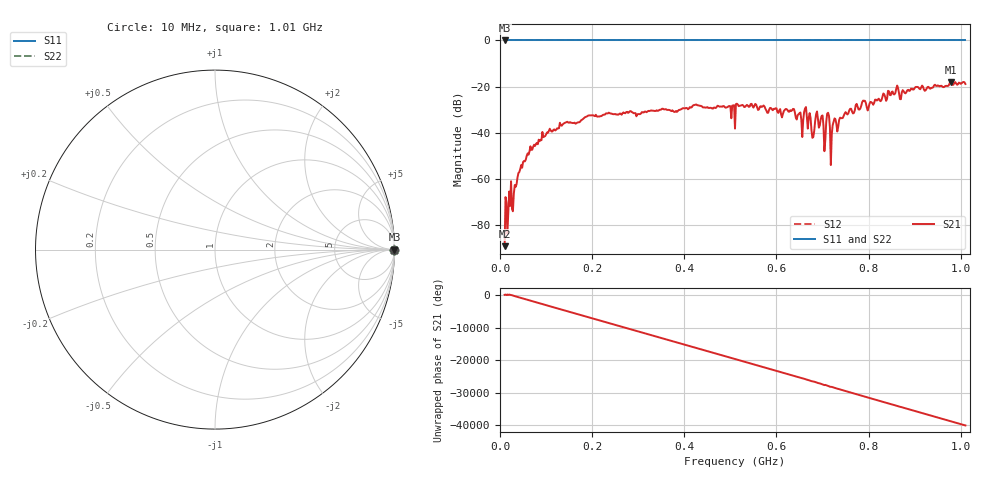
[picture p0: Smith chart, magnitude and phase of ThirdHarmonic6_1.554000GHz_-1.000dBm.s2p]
! 8/16/2025 6:27:17 PM
! C:\ANRITSUVNA\TEMP\TEMP.S2P
! CHANNEL.1
! TR.MEASUREMENT
! RAW.DATA
! RF.CORRECTION.OFF
! AVERAGING.OFF
! IF.BANDWIDTH: 5KHZ
! SWEEPTYPE:  FREQ.SWEEP(Linear)
! Reference Plane Port Info
! PORT:  PORT1  PORT2
! DISTANCE:  0  m  0  m
! TIME:  0  s  0  s
! PHASE.OFFSET:  0  deg.  0  deg.
! LOSS:  0  dB  0  dB
! REF.LOSS:  0  dB  0  dB
! REF.FREQ:  0  Hz  0  Hz
! Power Info
! POWER:  -20  dBm  -20  dBm
! EFF.POWER:  -20  dBm  -20  dBm
! SOURCE.ATTEN:  0  dB  0  dB
! TEST.ATTEN:  0  dB  0  dB
# GHZ S RI R 50.0
! FREQ.GHZ  S11RE  S11IM  S21RE  S21IM  S12RE  S12IM  S22RE  S22IM
!; PortSelection: Port_12
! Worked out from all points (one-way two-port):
!   501 points, 10 MHz to 1.01 GHz, reference 50 ohm
!   highest |S21| = -17.93 dB at 978 MHz (marker M1); lowest = -89.1 dB at 10 MHz (marker M2)
!   lowest |S11| = 0.0 dB at 10 MHz (marker M3)
!   |S11| at or under -10 dB: nowhere
!   |S22| runs from 0.0 to 0.0 dB; largest |S21 - S12| = 1.1
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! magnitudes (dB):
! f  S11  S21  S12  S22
! 10 MHz  0.0  -89.1  0.0  0.0
! 30 MHz  0.0  -66.5  0.0  0.0
! 42 MHz  0.0  -57.0  0.0  0.0
! 70 MHz  0.0  -47.3  0.0  0.0
! 106 MHz  0.0  -39.2  0.0  0.0
! 178 MHz  0.0  -34.4  0.0  0.0
! 344 MHz  0.0  -30.4  0.0  0.0
! 510 MHz  0.0  -38.2  0.0  0.0
! 634 MHz  0.0  -30.2  0.0  0.0
! 654 MHz  0.0  -34.5  0.0  0.0
! 662 MHz  0.0  -29.4  0.0  0.0
! 678 MHz  0.0  -42.2  0.0  0.0
! 688 MHz  0.0  -30.8  0.0  0.0
! 706 MHz  0.0  -43.1  0.0  0.0
! 712 MHz  0.0  -31.3  0.0  0.0
! 720 MHz  0.0  -40.6  0.0  0.0
! 726 MHz  0.0  -33.8  0.0  0.0
! 734 MHz  0.0  -37.4  0.0  0.0
! 758 MHz  0.0  -30.2  0.0  0.0
! 844 MHz  0.0  -22.0  0.0  0.0
! 978 MHz  0.0  -17.9  0.0  0.0
! 1.01 GHz  0.0  -18.9  0.0  0.0
